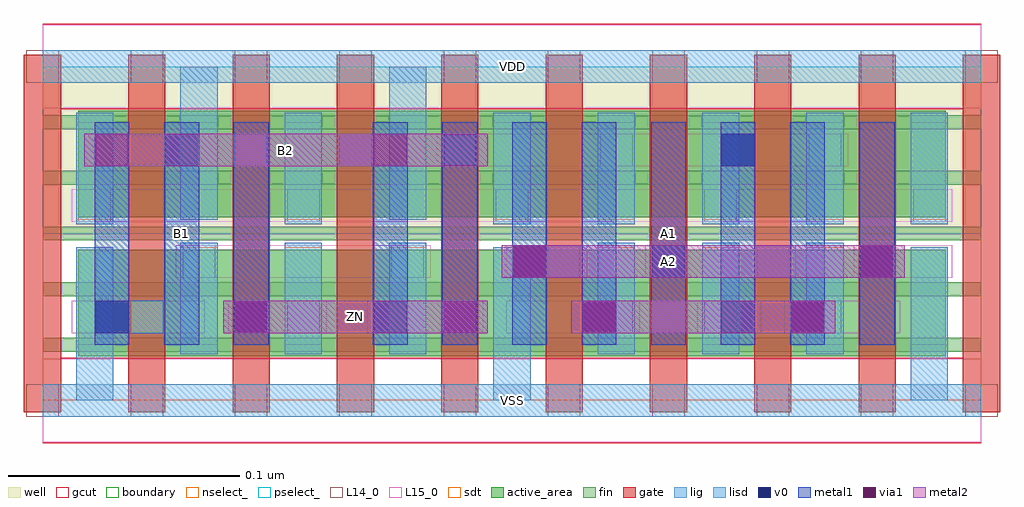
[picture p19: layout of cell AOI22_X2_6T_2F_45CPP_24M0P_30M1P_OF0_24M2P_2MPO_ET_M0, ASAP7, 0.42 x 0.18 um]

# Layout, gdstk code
import gdstk
lib = gdstk.Library(unit=1e-6, precision=2.5e-10)
def R(c, l, rs):  # rectangles x0, y0, x1, y1
    for r in rs: c.add(gdstk.rectangle(r[:2], r[2:], *l))
def A(c, l, x, y, w, h, nx, ny, dx, dy):  # array of equal rectangles
    R(c, l, [(x+i*dx, y+j*dy, x+i*dx+w, y+j*dy+h) for i in range(nx) for j in range(ny)])
well = (1, 0)
fin = (2, 0)
gate = (7, 0)
gcut = (10, 0)
active_area = (11, 0)
nselect_ = (12, 0)
pselect_ = (13, 0)
L14_0 = (14, 0)
L15_0 = (15, 0)
lig = (16, 0)
lisd = (17, 0)
v0 = (18, 0)
metal1 = (19, 0)
metal2 = (20, 0)
via1 = (21, 0)
sdt = (88, 0)
boundary = (100, 0)

aoi22_x2_6t_2f_45cpp_24m = lib.new_cell('AOI22_X2_6T_2F_45CPP_24M0P_30M1P_OF0_24M2P_2MPO_ET_M0')
R(aoi22_x2_6t_2f_45cpp_24m, well, [(0,0.072,0.405,0.144)])
A(aoi22_x2_6t_2f_45cpp_24m, fin, 0, 0.021, 0.405, 0.006, 1, 5, 0, 0.024)
A(aoi22_x2_6t_2f_45cpp_24m, gate, -0.008, -0.005, 0.016, 0.154, 10, 1, 0.045, 0)
R(aoi22_x2_6t_2f_45cpp_24m, gcut, [(0,-0.0185,0.405,0.0185), (-0.008,-0.005,0.008,0.149), (0.397,-0.005,0.413,0.149), (0,0.1255,0.405,0.1625)])
A(aoi22_x2_6t_2f_45cpp_24m, active_area, 0.0155, 0.019, 0.059, 0.046, 8, 2, 0.045, 0.06)
R(aoi22_x2_6t_2f_45cpp_24m, nselect_, [(0,0,0.405,0.072)])
R(aoi22_x2_6t_2f_45cpp_24m, pselect_, [(0,0.072,0.405,0.144)])
A(aoi22_x2_6t_2f_45cpp_24m, L14_0, -0.007, -0.007, 0.014, 0.014, 10, 2, 0.045, 0.144)
A(aoi22_x2_6t_2f_45cpp_24m, L14_0, 0.038, 0.029, 0.014, 0.014, 4, 1, 0.0675, 0)
A(aoi22_x2_6t_2f_45cpp_24m, L14_0, 0.218, 0.053, 0.014, 0.014, 4, 1, 0.045, 0)
A(aoi22_x2_6t_2f_45cpp_24m, L14_0, 0.0155, 0.077, 0.014, 0.014, 5, 1, 0.09, 0)
R(aoi22_x2_6t_2f_45cpp_24m, L14_0, [(0.2855,0.029,0.2995,0.043), (0.3305,0.029,0.3445,0.043), (0.0605,0.053,0.0745,0.067), (0.1505,0.053,0.1645,0.067), (0.083,0.101,0.097,0.115), (0.128,0.101,0.142,0.115), (0.2405,0.101,0.2545,0.115), (0.3305,0.101,0.3445,0.115)])
R(aoi22_x2_6t_2f_45cpp_24m, L15_0, [(0,-0.018,0.405,0.018), (0.0125,0.029,0.07,0.043), (0.08,0.029,0.1225,0.043), (0.14,0.029,0.19,0.043), (0.2,0.029,0.2575,0.043), (0.2825,0.029,0.31,0.043), (0.32,0.029,0.37,0.043), (0.0575,0.053,0.1675,0.067), (0.2,0.053,0.235,0.067), (0.26,0.053,0.325,0.067), (0.35,0.053,0.3925,0.067), (0.0125,0.077,0.3925,0.091), (0.035,0.101,0.16,0.115), (0.17,0.101,0.3475,0.115), (0,0.126,0.405,0.162)])
A(aoi22_x2_6t_2f_45cpp_24m, lig, 0.218, 0.053, 0.014, 0.014, 4, 1, 0.045, 0)
R(aoi22_x2_6t_2f_45cpp_24m, lig, [(0,-0.007,0.405,0.007), (0.038,0.029,0.052,0.043), (0.173,0.029,0.187,0.043), (0.083,0.101,0.097,0.115), (0.128,0.101,0.142,0.115), (0,0.137,0.405,0.151)])
A(aoi22_x2_6t_2f_45cpp_24m, lisd, 0.0145, 0, 0.016, 0.066, 3, 1, 0.18, 0)
A(aoi22_x2_6t_2f_45cpp_24m, lisd, 0.0595, 0.02, 0.016, 0.048, 3, 1, 0.045, 0)
A(aoi22_x2_6t_2f_45cpp_24m, lisd, 0.2395, 0.02, 0.016, 0.048, 3, 1, 0.045, 0)
A(aoi22_x2_6t_2f_45cpp_24m, lisd, 0.0145, 0.076, 0.016, 0.048, 3, 1, 0.09, 0)
A(aoi22_x2_6t_2f_45cpp_24m, lisd, 0.2395, 0.076, 0.016, 0.048, 4, 1, 0.045, 0)
R(aoi22_x2_6t_2f_45cpp_24m, lisd, [(0.0595,0.078,0.0755,0.144), (0.1495,0.078,0.1655,0.144)])
A(aoi22_x2_6t_2f_45cpp_24m, v0, 0.023, 0.029, 0.014, 0.014, 3, 1, 0.06, 0)
A(aoi22_x2_6t_2f_45cpp_24m, v0, 0.053, 0.101, 0.014, 0.014, 3, 1, 0.12, 0)
R(aoi22_x2_6t_2f_45cpp_24m, v0, [(0.233,0.029,0.247,0.043), (0.293,0.029,0.307,0.043), (0.323,0.029,0.337,0.043), (0.203,0.053,0.217,0.067), (0.263,0.053,0.277,0.067), (0.353,0.053,0.367,0.067)])
A(aoi22_x2_6t_2f_45cpp_24m, metal1, 0.0225, 0.024, 0.015, 0.096, 3, 1, 0.03, 0)
A(aoi22_x2_6t_2f_45cpp_24m, metal1, 0.1425, 0.024, 0.015, 0.096, 8, 1, 0.03, 0)
R(aoi22_x2_6t_2f_45cpp_24m, metal2, [(0.078,0.029,0.192,0.043), (0.228,0.029,0.342,0.043), (0.198,0.053,0.372,0.067), (0.018,0.101,0.192,0.115)])
R(aoi22_x2_6t_2f_45cpp_24m, via1, [(0.083,0.029,0.097,0.043), (0.173,0.029,0.187,0.043), (0.233,0.029,0.247,0.043), (0.323,0.029,0.337,0.043), (0.203,0.053,0.217,0.067), (0.353,0.053,0.367,0.067), (0.023,0.101,0.037,0.115), (0.143,0.101,0.157,0.115)])
A(aoi22_x2_6t_2f_45cpp_24m, sdt, 0.0145, 0.024, 0.016, 0.042, 9, 2, 0.045, 0.054)
R(aoi22_x2_6t_2f_45cpp_24m, boundary, [(0,0,0.405,0.144)])
aoi22_x2_6t_2f_45cpp_24m.add(gdstk.Label('VDD', (0.2025,0.144), layer=15, texttype=251))
aoi22_x2_6t_2f_45cpp_24m.add(gdstk.Label('VSS', (0.2025,0), layer=15, texttype=251))
aoi22_x2_6t_2f_45cpp_24m.add(gdstk.Label('VDD', (0.2025,0.144), layer=1, texttype=251))
aoi22_x2_6t_2f_45cpp_24m.add(gdstk.Label('VSS', (0.2025,0), layer=3, texttype=251))
aoi22_x2_6t_2f_45cpp_24m.add(gdstk.Label('A1', (0.27,0.072), layer=19, texttype=251))
aoi22_x2_6t_2f_45cpp_24m.add(gdstk.Label('B1', (0.06,0.072), layer=19, texttype=251))
aoi22_x2_6t_2f_45cpp_24m.add(gdstk.Label('A2', (0.27,0.06), layer=20, texttype=251))
aoi22_x2_6t_2f_45cpp_24m.add(gdstk.Label('ZN', (0.135,0.036), layer=20, texttype=251))
aoi22_x2_6t_2f_45cpp_24m.add(gdstk.Label('B2', (0.105,0.108), layer=20, texttype=251))

lib.write_gds('AOI22_X2_6T_2F_45CPP_24M0P_30M1P_OF0_24M2P_2MPO_ET_M0.gds')
